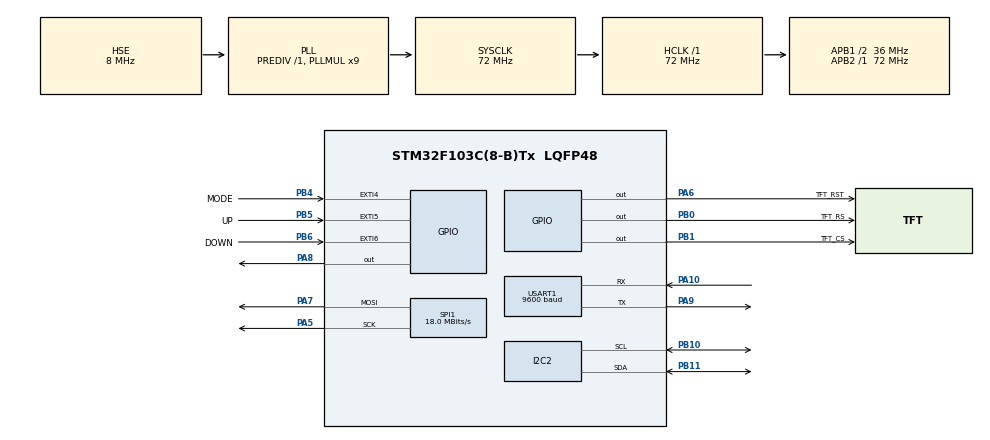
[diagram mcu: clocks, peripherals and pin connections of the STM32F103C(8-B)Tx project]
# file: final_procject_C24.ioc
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Mcu.Family=STM32F1
Mcu.Name=STM32F103C(8-B)Tx
Mcu.Package=LQFP48
NVIC.EXTI4_IRQn=true\:0\:0\:false\:false\:true\:true\:true\:true
NVIC.EXTI9_5_IRQn=true\:0\:0\:false\:false\:true\:true\:true\:true
NVIC.PriorityGroup=NVIC_PRIORITYGROUP_4
NVIC.USART1_IRQn=true\:0\:0\:true\:false\:true\:true\:true\:true
PA10.Mode=Asynchronous
PA10.Signal=USART1_RX
PA13.Mode=Serial_Wire
PA13.Signal=SYS_JTMS-SWDIO
PA14.Mode=Serial_Wire
PA14.Signal=SYS_JTCK-SWCLK
PA5.Mode=TX_Only_Simplex_Unidirect_Master
PA5.Signal=SPI1_SCK
PA6.GPIO_Label=TFT_RST
PA6.Signal=GPIO_Output
PA7.Mode=TX_Only_Simplex_Unidirect_Master
PA7.Signal=SPI1_MOSI
PA8.Signal=GPIO_Output
PA9.Mode=Asynchronous
PA9.Signal=USART1_TX
PB0.GPIO_Label=TFT_RS
PB0.Signal=GPIO_Output
PB1.GPIO_Label=TFT_CS
PB1.Signal=GPIO_Output
PB10.Mode=I2C
PB10.Signal=I2C2_SCL
PB11.Mode=I2C
PB11.Signal=I2C2_SDA
PB4.GPIO_Label=MODE
PB4.GPIO_ModeDefaultEXTI=GPIO_MODE_IT_FALLING
PB4.GPIO_PuPd=GPIO_PULLUP
PB4.Signal=GPXTI4
PB5.GPIO_Label=UP
PB5.GPIO_ModeDefaultEXTI=GPIO_MODE_IT_FALLING
PB5.GPIO_PuPd=GPIO_PULLUP
PB5.Signal=GPXTI5
PB6.GPIO_Label=DOWN
PB6.GPIO_ModeDefaultEXTI=GPIO_MODE_IT_FALLING
PB6.GPIO_PuPd=GPIO_PULLUP
PB6.Signal=GPXTI6
PD0-OSC_IN.Mode=HSE-External-Oscillator
PD0-OSC_IN.Signal=RCC_OSC_IN
PD1-OSC_OUT.Mode=HSE-External-Oscillator
PD1-OSC_OUT.Signal=RCC_OSC_OUT
ProjectManager.HeapSize=0x200
ProjectManager.StackSize=0x400
ProjectManager.TargetToolchain=STM32CubeIDE
RCC.AHBFreq_Value=72000000
RCC.APB1CLKDivider=RCC_HCLK_DIV2
RCC.APB1Freq_Value=36000000
RCC.APB1TimFreq_Value=72000000
RCC.APB2Freq_Value=72000000
RCC.APB2TimFreq_Value=72000000
RCC.HCLKFreq_Value=72000000
RCC.PLLMUL=RCC_PLL_MUL9
RCC.PLLSourceVirtual=RCC_PLLSOURCE_HSE
RCC.SYSCLKFreq_VALUE=72000000
RCC.SYSCLKSource=RCC_SYSCLKSOURCE_PLLCLK
RCC.USBFreq_Value=72000000
SPI1.BaudRatePrescaler=SPI_BAUDRATEPRESCALER_4
SPI1.CalculateBaudRate=18.0 MBits/s
SPI1.Direction=SPI_DIRECTION_2LINES
SPI1.Mode=SPI_MODE_MASTER
SPI1.VirtualType=VM_MASTER
USART1.BaudRate=9600
USART1.VirtualMode=VM_ASYNC
board=custom

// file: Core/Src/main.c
/* USER CODE BEGIN Header */
/**
  ******************************************************************************
  * @file           : main.c
  * @brief          : Main program body
  ******************************************************************************
  * @attention
  *
  * Copyright (c) 2024 STMicroelectronics.
  * All rights reserved.
  *
  * This software is licensed under terms that can be found in the LICENSE file
  * in the root directory of this software component.
  * If no LICENSE file comes with this software, it is provided AS-IS.
  *
  ******************************************************************************
  */
/* USER CODE END Header */
#include "main.h"
/* USER CODE BEGIN Includes */
#include "stdio.h"
#include "string.h"
#include <stdio.h>
#include "stdint.h"
#include <string.h>
#include "DHT.h"
#include "RTC.h"
#include "ILI9225.h"
/* USER CODE END Includes */

I2C_HandleTypeDef hi2c2;

SPI_HandleTypeDef hspi1;

UART_HandleTypeDef huart1;

void SystemClock_Config(void);
static void MX_GPIO_Init(void);
static void MX_I2C2_Init(void);
static void MX_SPI1_Init(void);
static void MX_USART1_UART_Init(void);

/* USER CODE BEGIN 0 */
/* Variable of temp and hum */
DHT_DataTypedef DHT11_Data;
extern uint8_t Temp_byte1;
extern uint8_t Temp_byte2;
extern uint8_t Rh_byte1;
extern uint8_t Rh_byte2;
float Temperature;
float Humidity;
float Temp1;
float Temp2;
float Hum1;
float Hum2;
float previous_temp1;
float previous_temp2;
float previous_hum1;
float previous_hum2;
uint8_t temperature_string[28];
uint8_t humidity_string[28];
uint8_t is_show_frame = 0;
uint8_t temp_nguyen_str[4];
uint8_t temp_thap_phan_str[4];
uint8_t hum_phan_nguyen_str[4];
uint8_t	hum_phan_thap_phan_str[8];
int flag;
/* Variable of date and time */
DateTime_t datetime;
uint8_t second_present, min_present, hour_present, date_present, month_present, year_present;
int8_t second_temp, min_temp, hour_temp, date_temp, month_temp, year_temp;
int8_t second_temp1, min_temp1, hour_temp1, date_temp1, month_temp1, year_temp1;
uint8_t secondtemp, mintemp, hourtemp, datetemp, monthtemp, yeartemp;
uint8_t date_max;
char strmin[20];
char strhour[20];
char strdate[20];
char strtempmin1[20];
char strtemphour1[20];
char strtempdate1[20];
char str1[20]; 									/* to store string of time */
char str2[20]; 									/* to store string of date */
uint8_t is_morning = 0;
uint8_t is_evening = 0;
uint8_t is_session_change = 0;
uint8_t present_session = 0;
uint8_t previous_session = 0;
uint8_t session_flag = 0;
/* Variable for uart */
uint8_t Rx_Buf = 0;
uint8_t uart_buffer[7];
uint8_t uart_pointer = 0;
uint8_t uart_flag = 0;
uint32_t u32_timer = 0;
uint8_t data_string[19];
uint8_t data_string2[7];
uint8_t data_string3[12];
uint8_t live_flag = 0;
uint8_t living = 0;

typedef enum
{
	BINHTHUONG = 0,
	CHINHPHUT = 1,
	CHINHGIO = 2,
	CHINHNGAY = 3,
}Mode;

Mode mode; 											/* khai báo biến "mode" có kiểu dữ liệu "Mode" */

/* 0: not detected; 1: detected */
volatile uint8_t button0_detect = 0;
volatile uint8_t button00_detect = 0;
volatile uint32_t button0_detect_time = 0;
volatile uint8_t button1_detect = 0;
volatile uint8_t button11_detect = 0;
volatile uint32_t button1_detect_time = 0;
volatile uint8_t button22_detect = 0;
volatile uint8_t button2_detect = 0;
volatile uint32_t button2_detect_time = 0;

/* FUNCTIONS */
/* Read data from DHT sensor */
void Read_DataDHT(void)
{
	DHT_GetData(&DHT11_Data);
	Temperature = DHT11_Data.Temperature;
	Humidity = DHT11_Data.Humidity;
	Temp1 = DHT11_Data.Temp1;
	Temp2 = DHT11_Data.Temp2;
	Hum1 = DHT11_Data.Hum1;
	Hum2 = DHT11_Data.Hum2;
}
/* External interupt callback */
void HAL_GPIO_EXTI_Callback(uint16_t GPIO_Pin)
{
	if (GPIO_Pin == GPIO_PIN_4)
	{
		if (button0_detect == 0)
				{
					button00_detect = 1;
					button0_detect = 1;
					button0_detect_time = HAL_GetTick();
				}
	}
	else if (GPIO_Pin == GPIO_PIN_5)
	{
		button11_detect = 1;
		button1_detect = 1;
		button1_detect_time = HAL_GetTick();
	}
	else if (GPIO_Pin == GPIO_PIN_6)
	{
		button22_detect = 1;
		button2_detect = 1;
		button2_detect_time = HAL_GetTick();
	}
}
/* Handle modes */
void btn_adjust_mode(void)
{
	if (mode == BINHTHUONG)
	{
		mode = CHINHPHUT;  			/* gán mode = 1 */
		if ((button00_detect == 1) || (button11_detect == 1) || (button22_detect == 1))
		{
			button00_detect = 0;
			button22_detect = 0;
			button11_detect = 0;
			sprintf(strtempmin1, "%02d", min_temp1);
			draw_string(120, 85, COLOR_GREEN, 1, strtempmin1);
		}
	}
	else if (mode == CHINHPHUT)
	{
		datetime.min = min_temp1;
		RTC_WriteTime(&datetime);
		mode = CHINHGIO;			/* gán mode = 2 */
		fill_rectangle(120, 85, 140, 95, COLOR_WHITE);
		if ((button00_detect == 1) || (button11_detect == 1) || (button22_detect == 1))
		{
			button00_detect = 0;
			button22_detect = 0;
			button11_detect = 0;
			sprintf(strtemphour1, "%02d", hour_temp1);
			draw_string(95, 85, COLOR_GREEN, 1, strtemphour1);
		}
	}
	else if (mode == CHINHGIO)		/* mode = 2 */
	{
		datetime.hour = hour_temp1;
		RTC_WriteTime(&datetime);
		mode = CHINHNGAY; 			/* gán mode = 3 */
		fill_rectangle(95, 85, 115, 95, COLOR_WHITE);
		if ((button00_detect == 1) || (button11_detect == 1) || (button22_detect == 1))
		{
			button00_detect = 0;
			button22_detect = 0;
			button11_detect = 0;
			sprintf(strtempdate1, "%02d", date_temp1);
			draw_string(95, 145, COLOR_GREEN, 1, strtempdate1);
		}
	}
	else if (mode == CHINHNGAY)		/* mode = 3 */
	{
		fill_rectangle(95, 145, 115, 155, COLOR_WHITE);
		if (datetime.date != date_temp1)
		{
			datetime.date = date_temp;
			RTC_WriteTime(&datetime);
		}
		mode = BINHTHUONG;			/* gán mode = 0 */
	}
}
/* Handle Button-up event */
void btn_adjust_up (void)
{
	if (mode == CHINHPHUT)
	{
		++min_temp;
		if (min_temp == 60)
		{
			min_temp = 0;
		}
		if (min_temp1 != min_temp)
		{
			min_temp1 = min_temp;
			fill_rectangle(120, 85, 140, 95, COLOR_WHITE);
		}
		sprintf(strtempmin1, "%02d", min_temp1);
		draw_string(120, 85, COLOR_GREEN, 1, strtempmin1);
	}
	else if (mode == CHINHGIO)
	{
		++hour_temp;
		if (hour_temp >= 24)
		{
			hour_temp = 0;
		}
		if (hour_temp1 != hour_temp)
		{
			hour_temp1 = hour_temp;
			fill_rectangle(95, 85, 115, 95, COLOR_WHITE);
		}
		sprintf(strtemphour1, "%02d", hour_temp1);
		draw_string(95, 85, COLOR_GREEN, 1, strtemphour1);
	}
	else if (mode == CHINHNGAY)
	{
		++date_temp;
		switch (datetime.month)   			/* xét xem tháng hiện tại có tổng bao nhiêu ngày */
		{
			case 1:
			case 3:
			case 5:
			case 7:
			case 8:
			case 10:
			case 12:
				date_max = 31 + 1;
				break;
			case 4:
			case 6:
			case 9:
			case 11:
				date_max = 30 + 1;
			case 2:
				if ((datetime.year - 2014) % 4 == 0)
				{
					date_max = 29 + 1;
				}
				else
				{
					date_max = 28 + 1;
				}
				break;
			default:
				break;
		}
		if (date_temp >= date_max)
		{
			date_temp = 1;
		}
		if (date_temp1 != date_temp)
		{
			date_temp1 = date_temp;
			fill_rectangle(95, 145, 115, 155, COLOR_WHITE);
		}
		sprintf(strtempdate1, "%02d", date_temp1);
		draw_string(95, 145, COLOR_GREEN, 1, strtempdate1);
	}
}
/* Handle Button-down event */
void btn_adjust_down(void)
{
	if (mode == CHINHPHUT)
	{
		--min_temp;
		if (min_temp <= -1)
		{
			min_temp = 59;
		}
		if (min_temp1 != min_temp)
		{
			min_temp1 = min_temp;
			fill_rectangle(120, 85, 140, 95, COLOR_WHITE);
		}
		sprintf(strtempmin1, "%02d", min_temp1);
		draw_string(120, 85, COLOR_GREEN, 1, strtempmin1);
	}
	else if (mode == CHINHGIO)
	{
		--hour_temp;
		if (hour_temp <= -1)
		{
			hour_temp = 23;
		}
		if (hour_temp1 != hour_temp)
		{
			hour_temp1 = hour_temp;
			fill_rectangle(95, 85, 115, 95, COLOR_WHITE);
		}
		sprintf(strtemphour1, "%02d", hour_temp1);
		draw_string(95, 85, COLOR_GREEN, 1, strtemphour1);

	}
	else if (mode == CHINHNGAY)
	{
		--date_temp;
		switch (datetime.month)						/* xét xem tháng hiện tại có tổng bao nhiêu ngày */
		{
			case 1:
			case 3:
			case 5:
			case 7:
			case 8:
			case 10:
			case 12:
				date_max = 31 + 1;
				break;
			case 4:
			case 6:
			case 9:
			case 11:
				date_max = 30 + 1;
			case 2:
				if ((datetime.year - 2014) % 4 == 0)	/* Nếu năm hiện tại là năm nhuận thì số tổng số ngày của tháng 2 ở năm hiện tại là 29, còn không thì là 28*/
				{
					date_max = 29 + 1;
				}
				else
				{
					date_max = 28 + 1;
				}
				break;
			default:
				break;
		}
		if (date_temp == 0)
		{
			date_temp = date_max - 1;
		}
		if (date_temp1 != date_temp)
		{
			date_temp1 = date_temp;
			fill_rectangle(95, 145, 115, 155, COLOR_WHITE);
		}
		sprintf(strtempdate1, "%02d", date_temp1);
		draw_string(95, 145, COLOR_GREEN, 1, strtempdate1);
	}
}
/* Handle received data via UART protocol */
void HAL_UART_RxCpltCallback(UART_HandleTypeDef *huart)
{
	if (huart->Instance == huart1.Instance)
	{
		if (Rx_Buf != '\n')
		{
			uart_buffer[uart_pointer] = Rx_Buf;
			uart_pointer++;
		}
		else
		{
			uart_buffer[uart_pointer] = '\0';
			uart_flag = 1; 						/* biểu thị rằng 1 dòng data hoàn chỉnh đã được nhận từ ngoại vi qua giao tiếp UART */
		}
	HAL_UART_Receive_IT(&huart1, &Rx_Buf, 1);
	}
}

void UART_Handle()
{
/* Send temperature and humidity to another bluetooth-connected device */
	if (live_flag == 1 && living == 1)
	{
		snprintf(data_string3, 11, "*%02g%02g%02g%02g#", Temp1, Temp2, Hum1, Hum2);
		HAL_UART_Transmit(&huart1, (uint8_t*)data_string3, 11, 200);
	}
/* Cut string */
	if (uart_flag == 1)
	{
		char *arg_list[10];
		uint8_t arg_num = 0;
		char *temp_token = strtok((char *)uart_buffer, " ");	/* Chỉ gán char trừ khoảng trắng cho con tro temp_token */
		while (temp_token != NULL) 				/* vòng lặp chạy mãi cho tới khi temp_token = null */
		{
			arg_list[arg_num] = temp_token; 	/* byte của temp_token sẽ được lưu vào mảng arg_list tại arg_num */
			arg_num++; 							/* để bảo đảm là mỗi token đã được qua thực thi rồi */
			temp_token = strtok(NULL, " ");
		}
/* Handle */
		if (strstr(arg_list[0], "*") != NULL)
		{
			for (int j = 1; j <=6; j++){
				if (uart_buffer[j] == '*')
				{
					for (int i = 0; i<=6; i++)
					{
						uart_buffer[i] = '\0';
						uart_pointer = 0;
					}
				}
			}
			if (strstr(arg_list[1], "live") != NULL)
			{
				live_flag = 1;
				living++;
				if (living == 2)
					living = 0;
				for (int i = 0; i<=6; i++)
				{
					uart_buffer[i] = '\0';
					uart_pointer = 0;
				}
			}
		}
		else
		{
	    	for (int i = 0; i<=6; i++)
		    {
				uart_buffer[i] = '\0';
				uart_pointer = 0;
		    }
	    	uart_pointer = 0;
			uart_flag = 0;
	    }
	}
}

/* USER CODE END 0 */

int main(void)
{

  /* MCU Configuration--------------------------------------------------------*/

  /* Reset of all peripherals, Initializes the Flash interface and the Systick. */
  HAL_Init();

  /* Configure the system clock */
  SystemClock_Config();

  /* Initialize all configured peripherals */
  MX_GPIO_Init();
  MX_I2C2_Init();
  MX_SPI1_Init();
  MX_USART1_UART_Init();
  /* USER CODE BEGIN 2 */
  mode = 0;
  DHT_Start();
  HAL_UART_Receive_IT(&huart1, &Rx_Buf, 1); // Nhận Data
  lcd_init();
  fill_rectangle(0, 0, WIDTH, HEIGHT, COLOR_WHITE);
  draw_string(10, 10, COLOR_BLUEVIOLET, 2, "HELLO");
  fill_rectangle(0, 0, WIDTH, HEIGHT, COLOR_WHITE);

  /* Setting time */
  datetime.second = 50;
  datetime.min = 58;
  datetime.hour = 17;
  datetime.date = 5;
  datetime.month = 12;
  datetime.year = 23;
  RTC_WriteTime(&datetime);

  /* USER CODE END 2 */

  /* Infinite loop */
  while (1)
  {

    /* USER CODE BEGIN 3 */
	  UART_Handle();
	  /* Button detect */
	  /* Button mode */
	  if ((button0_detect == 1) && (HAL_GetTick() - button0_detect_time >= 200))
	  {
		  button0_detect = 0;
		  btn_adjust_mode();
	  }
	  /* Button up */
	  if ((button1_detect == 1) && (HAL_GetTick() - button1_detect_time >= 200))
	  {
		  button1_detect = 0;
		  btn_adjust_up();
	  }
	  /* Button down */
	  if ((button2_detect == 1) && (HAL_GetTick() - button2_detect_time >= 200))
	  {
		  button2_detect = 0;
		  btn_adjust_down();
	  }
	  /* Show frame of screen once */
	  if (is_show_frame == 0)
	  {
		 	/* draw title */
		 	draw_string(40, 5, COLOR_DARKGREEN, 2, "QMD C24");
		 	/* draw for temp and hum */
			draw_string(20, 45, COLOR_GOLD, 1, "TEMP :");
		    draw_string(20, 65, COLOR_GOLD, 1, "HUM  :");
		    draw_pic_8bit(170, 39, ICON_TEMP, COLOR_RED, 2);
			draw_pic_8bit(170, 59, ICON_HUM, COLOR_BLUE, 2);
			/* draw icon calendar and clock */
		    draw_pic_8bit(15, 115, ICON_CALENDAR, COLOR_ORANGE, 2);
			draw_pic_8bit(15, 95, ICON_CLOCK, COLOR_BROWN, 2);
			is_show_frame = 1;
	  }

	 /* Show date and time */
	 RTC_ReadTime(&datetime);
	 secondtemp = datetime.second;
	 mintemp = datetime.min;
	 hourtemp = datetime.hour;
	 datetemp = datetime.date;
	 monthtemp = datetime.month;
	 yeartemp = datetime.year;
	 sprintf(str1, "Time: %02d:%02d:%02d", datetime.hour, datetime.min, datetime.second);
	 sprintf(strmin, "%02d", datetime.min);
	 sprintf(strhour, "%02d", datetime.hour);
	 sprintf(strdate, "%02d", datetime.date);

	 if (secondtemp != second_present)
	 {
		 fill_rectangle(145, 100, 170, 110, COLOR_WHITE);
		 second_present = secondtemp;
	 }
	 draw_string(40, 100, COLOR_BLACK, 1, str1);

	 if (mintemp != min_present)
	 {
		 fill_rectangle(120, 100, 140, 110, COLOR_WHITE);
		 min_present = mintemp;
	 }
	 draw_string(40, 100, COLOR_BLACK, 1, str1);

	 if (hourtemp != hour_present)
	 {
		 fill_rectangle(95, 100, 115, 110, COLOR_WHITE);
		 hour_present = hourtemp;
	 }
	 draw_string(40, 100, COLOR_BLACK, 1, str1);

	 sprintf(str2, "Date: %02d/%02d/20%02d", datetime.date, datetime.month, datetime.year );
	 if (datetemp != date_present)
	 {
		  fill_rectangle(95, 115, 115, 135, COLOR_WHITE);
		  date_present = datetemp;
	 }
	  	  draw_string(40, 120, COLOR_BLACK, 1, str2);

	 if (monthtemp != month_present)
	 {
		 fill_rectangle(120, 115, 140, 135, COLOR_WHITE);
		 month_present = monthtemp;
	 }
	 draw_string(40, 120, COLOR_BLACK, 1, str2);

	 if (yeartemp != year_present)
	 {
		 fill_rectangle(145, 115, 190, 135, COLOR_WHITE);
		 year_present = yeartemp;
	 }
	 draw_string(40, 120, COLOR_BLACK, 1, str2);

	 /* Display moon and sun */
	 if (datetime.hour > 6 && datetime.hour < 18)
	 {
		 present_session = 1;
		 session_flag = 0;
	 }

	 if ((datetime.hour <= 6 || datetime.hour >= 18) && session_flag == 0)
	 {
		 present_session = 2;
		 session_flag = 1;
	 }
	 if (present_session != previous_session && session_flag == 1)
	 {
		 fill_rectangle(182, 5, 220, 45, COLOR_WHITE);
		 draw_pic_16bit(182, 5, MOON, COLOR_GRAY, 2); /* display moon */
		 previous_session = present_session;
	 }
	 else if (present_session != previous_session && session_flag == 0)
	 {
		 fill_rectangle(182, 5, 220, 45, COLOR_WHITE);
		 draw_pic_16bit(182, 5, SUN, COLOR_SUN, 2); /* display sun */
		 previous_session = present_session;
	 }

	 /* Read data of temp and hum*/
	 Read_DataDHT();
	 /* Display temp and hum */
	 if (Temp1 != previous_temp1)
	 {
		 sprintf((char *)temp_nguyen_str, "%02d",(uint16_t)Temp1);
		 fill_rectangle(100, 45, 120, 55, COLOR_WHITE);
		 draw_string(100, 45, COLOR_BLUE, 1, (char *)temp_nguyen_str);
		 previous_temp1 = Temp1;
	 }
	 if (Temp2 != previous_temp2)
	 {
		 sprintf((char *)temp_thap_phan_str,".%02d",(uint16_t)Temp2);
		 fill_rectangle(118, 45, 148, 55, COLOR_WHITE);
		 draw_string(118, 45, COLOR_BLUE, 1, (char *)temp_thap_phan_str );
		 previous_temp2 = Temp2;
	 }
	 if (Hum1 != previous_hum1)
	 {
		 sprintf((char *)hum_phan_nguyen_str, "%02d",(uint16_t)Hum1);
		 fill_rectangle(100, 65, 120, 75, COLOR_WHITE);
		 draw_string(100, 65, COLOR_BLUE, 1, (char *)hum_phan_nguyen_str);
		 previous_hum1 = Hum1;
	 }
	 sprintf((char *)hum_phan_thap_phan_str, ".%02d %%",(uint16_t)Hum2);
	 draw_string(118, 65, COLOR_BLUE, 1, (char *)hum_phan_thap_phan_str);
	 HAL_Delay(600);
  }

  /* USER CODE END 3 */
}

void SystemClock_Config(void)
{
  RCC_OscInitTypeDef RCC_OscInitStruct = {0};
  RCC_ClkInitTypeDef RCC_ClkInitStruct = {0};

  /** Initializes the RCC Oscillators according to the specified parameters
  * in the RCC_OscInitTypeDef structure.
  */
  RCC_OscInitStruct.OscillatorType = RCC_OSCILLATORTYPE_HSE;
  RCC_OscInitStruct.HSEState = RCC_HSE_ON;
  RCC_OscInitStruct.HSEPredivValue = RCC_HSE_PREDIV_DIV1;
  RCC_OscInitStruct.HSIState = RCC_HSI_ON;
  RCC_OscInitStruct.PLL.PLLState = RCC_PLL_ON;
  RCC_OscInitStruct.PLL.PLLSource = RCC_PLLSOURCE_HSE;
  RCC_OscInitStruct.PLL.PLLMUL = RCC_PLL_MUL9;
  if (HAL_RCC_OscConfig(&RCC_OscInitStruct) != HAL_OK)
  {
    Error_Handler();
  }

  /** Initializes the CPU, AHB and APB buses clocks
  */
  RCC_ClkInitStruct.ClockType = RCC_CLOCKTYPE_HCLK|RCC_CLOCKTYPE_SYSCLK
                              |RCC_CLOCKTYPE_PCLK1|RCC_CLOCKTYPE_PCLK2;
  RCC_ClkInitStruct.SYSCLKSource = RCC_SYSCLKSOURCE_PLLCLK;
  RCC_ClkInitStruct.AHBCLKDivider = RCC_SYSCLK_DIV1;
  RCC_ClkInitStruct.APB1CLKDivider = RCC_HCLK_DIV2;
  RCC_ClkInitStruct.APB2CLKDivider = RCC_HCLK_DIV1;

  if (HAL_RCC_ClockConfig(&RCC_ClkInitStruct, FLASH_LATENCY_2) != HAL_OK)
  {
    Error_Handler();
  }
}

static void MX_I2C2_Init(void)
{

  hi2c2.Instance = I2C2;
  hi2c2.Init.ClockSpeed = 100000;
  hi2c2.Init.DutyCycle = I2C_DUTYCYCLE_2;
  hi2c2.Init.OwnAddress1 = 0;
  hi2c2.Init.AddressingMode = I2C_ADDRESSINGMODE_7BIT;
  hi2c2.Init.DualAddressMode = I2C_DUALADDRESS_DISABLE;
  hi2c2.Init.OwnAddress2 = 0;
  hi2c2.Init.GeneralCallMode = I2C_GENERALCALL_DISABLE;
  hi2c2.Init.NoStretchMode = I2C_NOSTRETCH_DISABLE;
  if (HAL_I2C_Init(&hi2c2) != HAL_OK)
  {
    Error_Handler();
  }

}

static void MX_SPI1_Init(void)
{

  /* SPI1 parameter configuration*/
  hspi1.Instance = SPI1;
  hspi1.Init.Mode = SPI_MODE_MASTER;
  hspi1.Init.Direction = SPI_DIRECTION_2LINES;
  hspi1.Init.DataSize = SPI_DATASIZE_8BIT;
  hspi1.Init.CLKPolarity = SPI_POLARITY_LOW;
  hspi1.Init.CLKPhase = SPI_PHASE_1EDGE;
  hspi1.Init.NSS = SPI_NSS_SOFT;
  hspi1.Init.BaudRatePrescaler = SPI_BAUDRATEPRESCALER_4;
  hspi1.Init.FirstBit = SPI_FIRSTBIT_MSB;
  hspi1.Init.TIMode = SPI_TIMODE_DISABLE;
  hspi1.Init.CRCCalculation = SPI_CRCCALCULATION_DISABLE;
  hspi1.Init.CRCPolynomial = 10;
  if (HAL_SPI_Init(&hspi1) != HAL_OK)
  {
    Error_Handler();
  }

}

static void MX_USART1_UART_Init(void)
{

  huart1.Instance = USART1;
  huart1.Init.BaudRate = 9600;
  huart1.Init.WordLength = UART_WORDLENGTH_8B;
  huart1.Init.StopBits = UART_STOPBITS_1;
  huart1.Init.Parity = UART_PARITY_NONE;
  huart1.Init.Mode = UART_MODE_TX_RX;
  huart1.Init.HwFlowCtl = UART_HWCONTROL_NONE;
  huart1.Init.OverSampling = UART_OVERSAMPLING_16;
  if (HAL_UART_Init(&huart1) != HAL_OK)
  {
    Error_Handler();
  }

}

static void MX_GPIO_Init(void)
{
  GPIO_InitTypeDef GPIO_InitStruct = {0};

  /* GPIO Ports Clock Enable */
  __HAL_RCC_GPIOD_CLK_ENABLE();
  __HAL_RCC_GPIOA_CLK_ENABLE();
  __HAL_RCC_GPIOB_CLK_ENABLE();

  /*Configure GPIO pin Output Level */
  HAL_GPIO_WritePin(GPIOA, TFT_RST_Pin|GPIO_PIN_8, GPIO_PIN_RESET);

  /*Configure GPIO pin Output Level */
  HAL_GPIO_WritePin(GPIOB, TFT_RS_Pin|TFT_CS_Pin, GPIO_PIN_RESET);

  /*Configure GPIO pins : TFT_RST_Pin PA8 */
  GPIO_InitStruct.Pin = TFT_RST_Pin|GPIO_PIN_8;
  GPIO_InitStruct.Mode = GPIO_MODE_OUTPUT_PP;
  GPIO_InitStruct.Pull = GPIO_NOPULL;
  GPIO_InitStruct.Speed = GPIO_SPEED_FREQ_LOW;
  HAL_GPIO_Init(GPIOA, &GPIO_InitStruct);

  /*Configure GPIO pins : TFT_RS_Pin TFT_CS_Pin */
  GPIO_InitStruct.Pin = TFT_RS_Pin|TFT_CS_Pin;
  GPIO_InitStruct.Mode = GPIO_MODE_OUTPUT_PP;
  GPIO_InitStruct.Pull = GPIO_NOPULL;
  GPIO_InitStruct.Speed = GPIO_SPEED_FREQ_LOW;
  HAL_GPIO_Init(GPIOB, &GPIO_InitStruct);

  /*Configure GPIO pins : MODE_Pin UP_Pin DOWN_Pin */
  GPIO_InitStruct.Pin = MODE_Pin|UP_Pin|DOWN_Pin;
  GPIO_InitStruct.Mode = GPIO_MODE_IT_FALLING;
  GPIO_InitStruct.Pull = GPIO_PULLUP;
  HAL_GPIO_Init(GPIOB, &GPIO_InitStruct);

  /* EXTI interrupt init*/
  HAL_NVIC_SetPriority(EXTI4_IRQn, 0, 0);
  HAL_NVIC_EnableIRQ(EXTI4_IRQn);

  HAL_NVIC_SetPriority(EXTI9_5_IRQn, 0, 0);
  HAL_NVIC_EnableIRQ(EXTI9_5_IRQn);

}

void Error_Handler(void)
{
  __disable_irq();
  while (1)
  {
  }
}
